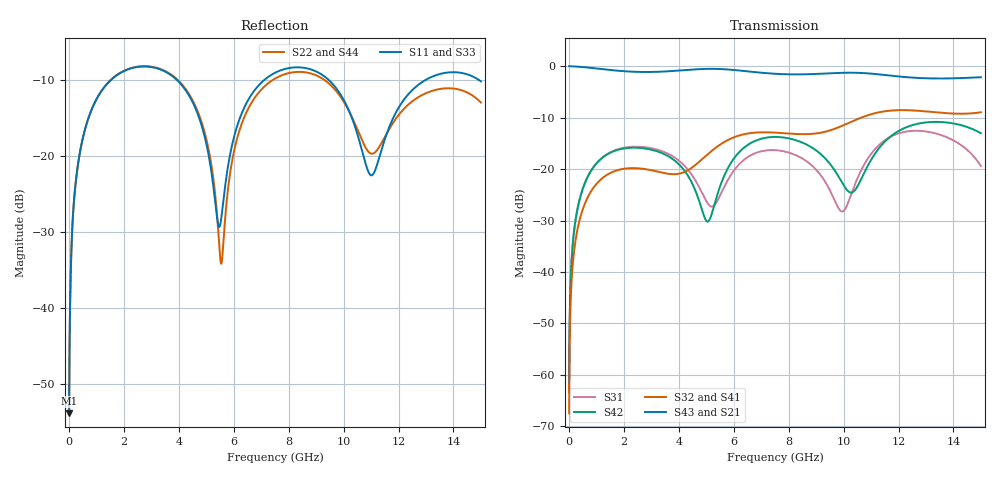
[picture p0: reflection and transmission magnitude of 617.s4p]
! Created with skrf 1.8.0 (http://scikit-rf.org).
# GHz S RI R 50.0
!freq ReS11 ImS11 ReS12 ImS12 ReS13 ImS13
! ReS14 ImS14
! ReS21 ImS21 ReS22 ImS22 ReS23 ImS23
! ReS24 ImS24
! ReS31 ImS31 ReS32 ImS32 ReS33 ImS33
! ReS34 ImS34
! ReS41 ImS41 ReS42 ImS42 ReS43 ImS43
! ReS44 ImS44
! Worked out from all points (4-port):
!   2499 points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, 5 MHz to 15 GHz, reference 50 ohm
!   strongest paths, dB at 5 MHz, 3.476 GHz, 7.19 GHz, 11.1 GHz, 15 GHz:
!     S43: 0.0, -1.0, -1.4, -1.5, -2.2
!     S21: 0.0, -1.0, -1.4, -1.5, -2.2
!     S32: -67.5, -20.8, -12.9, -9.2, -9.0
!     S41: -67.5, -20.9, -12.9, -9.2, -9.1
!     S42: -63.4, -17.1, -13.9, -17.4, -13.0
!     S31: -63.4, -16.7, -16.4, -16.4, -19.4
!   lowest |S11| = -53.8 dB at 5 MHz (marker M1), VSWR 1.00, Z = 50.2 + j0.124 ohm
!   |S11| at or under -10 dB: start of sweep to 1.515 GHz; 3.942 GHz to 7.1 GHz (3.158 GHz wide, 57.2 % of centre); 9.471 GHz to 12.97 GHz (3.494 GHz wide, 31.2 % of centre) (the widest 3 of 4)
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0.005  0.00163 0.00123  0.9983 -0.00317  8.26e-05 0.00067  -8.01e-05 -0.000416
       0.9983 -0.00317  0.00163 0.00123  -8.01e-05 -0.000416  8.25e-05 0.00067
       8.26e-05 0.00067  -8.01e-05 -0.000416  0.00163 0.00123  0.9983 -0.00317
       -8.01e-05 -0.000416  8.25e-05 0.00067  0.9983 -0.00317  0.00163 0.00123
0.3126303  0.0238 0.0812  0.9675 -0.1973  0.0114 0.0398  -0.00932 -0.0245
           0.9675 -0.1973  0.0238 0.0812  -0.00934 -0.0245  0.0111 0.0399
           0.0114 0.0398  -0.00934 -0.0245  0.0237 0.0812  0.9675 -0.1973
           -0.00932 -0.0245  0.0111 0.0399  0.9675 -0.1973  0.0238 0.0812
1.569404  0.2699 0.1772  0.5467 -0.7307  0.1355 0.0604  -0.0928 -0.00576
          0.5467 -0.7307  0.2714 0.1763  -0.0931 -0.00546  0.1304 0.0674
          0.1355 0.0604  -0.0931 -0.00546  0.2697 0.1773  0.5467 -0.7307
          -0.0928 -0.00576  0.1304 0.0674  0.5467 -0.7307  0.2715 0.1762
5.546061  0.0356 0.0163  -0.9347 -0.044  -0.0345 0.0473  -0.0061 0.1756
          -0.9347 -0.044  0.0197 -0.000468  -0.000639 0.1758  0.0496 0.0538
          -0.0345 0.0473  -0.000639 0.1758  0.0371 0.0152  -0.9346 -0.0444
          -0.0061 0.1756  0.0496 0.0538  -0.9346 -0.0444  0.0187 -0.00116
8.59108  0.3768 -0.0575  0.0206 0.8312  0.1116 -0.0497  0.2086 -0.0536
         0.0206 0.8312  0.3567 -0.0188  0.2082 -0.0651  0.1204 -0.1286
         0.1116 -0.0497  0.2082 -0.0651  0.3738 -0.0558  0.0208 0.8319
         0.2086 -0.0536  0.1204 -0.1286  0.0208 0.8319  0.3565 -0.0217
11.2797  0.0883 0.0367  0.8312 0.013  0.0103 0.1697  -0.00166 -0.3555
         0.8312 0.013  0.1119 0.0212  -0.0216 -0.3549  0.0426 0.1522
         0.0103 0.1697  -0.0216 -0.3549  0.0903 0.0335  0.8312 0.0121
         -0.00166 -0.3555  0.0426 0.1522  0.8312 0.0121  0.1104 0.0254
15  0.2604 -0.1702  -0.2807 -0.7251  0.0961 -0.047  -0.3154 0.1533
    -0.2807 -0.7251  0.2111 -0.0804  -0.3034 0.1864  0.05 -0.217
    0.0961 -0.047  -0.3034 0.1864  0.2543 -0.1585  -0.2836 -0.7259
    -0.3154 0.1533  0.05 -0.217  -0.2836 -0.7259  0.2037 -0.0963
